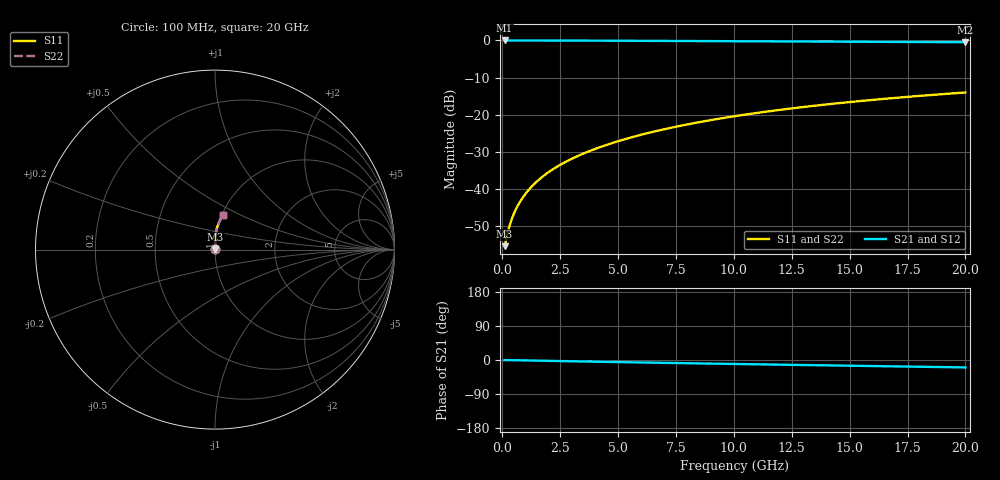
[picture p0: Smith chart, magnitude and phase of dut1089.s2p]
! Touchstone file exported from HFSS 2024.1.0
!  File:  C:/UserFiles/LocalFiles/RDL_TSV_Batchsim/temp_RDL_bottom_1089_1780053552.aedt
!  Generated:  07:21:52 PM May 29, 2026
!  Design:  RDL_bottom
!  Project:  temp_RDL_bottom_1089_1780053552
!  Setup:  Setup1
!  Solution:  Sweep
! Variables:
!  dtsv = 10.80580581um
!  hbump = 3um
!  htsv = 97.34um
!  ldown = 248.99um
!  lrdl = 100um
!  p = 40
!  p1 = 50.91um
!  rhole = 1um
!  t = 450um
!  tdown = 3.08um
!  trdl = 3.915915916um
!  wdown = 25.1um
!  wrdl = 20um
# GHz S MA R 50.000000
! Terminal data exported
! Port[1] = RDL1_T1
! Port[2] = RDL1_T2
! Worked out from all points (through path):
!   200 points, 100 MHz to 20 GHz, reference 50 ohm
!   highest |S21| = -0.01 dB at 100 MHz (marker M1); lowest = -0.5 dB at 20 GHz (marker M2)
!   group delay of S21, straight-line fit = 2.69 ps
!   lowest |S11| = -55.4 dB at 100 MHz (marker M3), VSWR 1.00, Z = 50.1 + j0.0929 ohm
!   |S11| at or under -10 dB: start of sweep to end of sweep
!   |S22| runs from -55.4 to -14.0 dB; largest |S21 - S12| = 2.6e-15
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0.1  0.001691 33.2  0.9986 -0.1  0.9986 -0.1  0.001691 33.2
! Gamma 0 0 0 0
! Port Impedance 50 0 50 0
0.2  0.002343 51.0  0.9985 -0.2  0.9985 -0.2  0.002343 51.0
0.3  0.003091 60.2  0.9984 -0.4  0.9984 -0.4  0.003091 60.2
0.4  0.003857 65.6  0.9983 -0.5  0.9983 -0.5  0.003857 65.6
0.5  0.004628 69.4  0.9982 -0.6  0.9982 -0.6  0.004628 69.4
0.6  0.005404 72.2  0.9982 -0.7  0.9982 -0.7  0.005404 72.2
0.8  0.006973 76.2  0.998 -0.9  0.998 -0.9  0.006973 76.2
1.1  0.00937 79.9  0.9977 -1.3  0.9977 -1.3  0.00937 79.9
1.3  0.01099 81.6  0.9975 -1.5  0.9975 -1.5  0.01099 81.6
1.6  0.01346 83.5  0.9972 -1.8  0.9972 -1.8  0.01346 83.5
2.1  0.01765 85.6  0.9965 -2.4  0.9965 -2.4  0.01765 85.6
2.7  0.0228 87.2  0.9955 -3.1  0.9955 -3.1  0.0228 87.2
3.5  0.02989 88.5  0.9939 -3.9  0.9939 -3.9  0.02989 88.5
4.2  0.0363 89.2  0.9922 -4.7  0.9922 -4.7  0.0363 89.2
5  0.04386 89.6  0.9901 -5.5  0.9901 -5.5  0.04386 89.6
6.8  0.06164 89.4  0.9849 -7.4  0.9849 -7.4  0.06164 89.4
8.4  0.07811 88.5  0.9801 -9.0  0.9801 -9.0  0.07811 88.5
10.1  0.09598 87.1  0.975 -10.6  0.975 -10.6  0.09598 87.1
11.7  0.1129 85.6  0.9702 -12.1  0.9702 -12.1  0.1129 85.6
13.4  0.1309 83.8  0.9653 -13.6  0.9653 -13.6  0.1309 83.8
16.7  0.1654 80.3  0.9558 -16.6  0.9558 -16.6  0.1654 80.3
20  0.1989 76.8  0.9463 -19.6  0.9463 -19.6  0.1989 76.8
